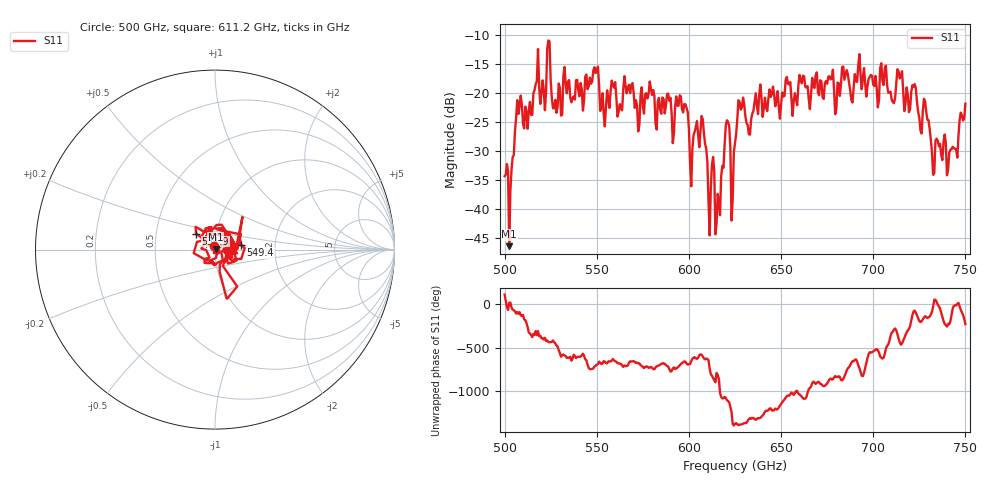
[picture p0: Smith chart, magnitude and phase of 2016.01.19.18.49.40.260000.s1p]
!Created with skrf (http://scikit-rf.org).
# GHz S RI R 50.0
!freq ReS11 ImS11
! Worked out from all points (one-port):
!   401 points, 500 GHz to 750 GHz, reference 50 ohm
!   lowest |S11| = -46.4 dB at 502.5 GHz (marker M1), VSWR 1.01, Z = 50.5 + j0.127 ohm
!   |S11| at or under -10 dB: start of sweep to end of sweep
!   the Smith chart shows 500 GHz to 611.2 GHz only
!   S11 on the Smith chart (normalised r, x): 500 GHz: 0.99, +0.04; 531.9 GHz: 0.80, +0.14; 549.4 GHz: 1.34, +0.07; 611.2 GHz: 1.01, -0.00
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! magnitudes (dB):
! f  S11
! 500 GHz  -34.3
! 502.5 GHz  -46.4
! 508.1 GHz  -22.3
! 520.6 GHz  -17.9
! 523.8 GHz  -11.0
! 526.9 GHz  -22.7
! 531.2 GHz  -23.7
! 531.9 GHz  -17.2
! 549.4 GHz  -16.6
! 553.1 GHz  -20.1
! 558.8 GHz  -18.6
! 562.5 GHz  -22.0
! 593.8 GHz  -22.2
! 601.2 GHz  -36.1
! 607.5 GHz  -24.5
! 611.2 GHz  -44.5
! 615.6 GHz  -37.4
! 620.6 GHz  -24.7
! 623.8 GHz  -38.2
! 625 GHz  -28.6
! 628.1 GHz  -22.9
! 632.5 GHz  -27.1
! 656.2 GHz  -24.0
! 687.5 GHz  -19.6
! 714.4 GHz  -17.5
! 718.8 GHz  -20.3
! 741.2 GHz  -30.3
! 750 GHz  -21.9
